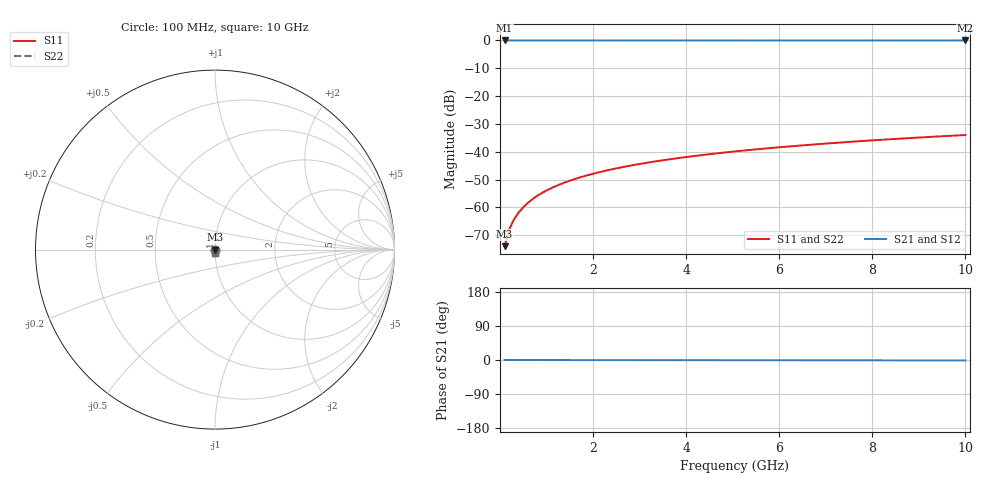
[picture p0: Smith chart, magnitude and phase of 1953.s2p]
# Hz S RI R 50.00
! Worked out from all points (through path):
!   100 points, 100 MHz to 10 GHz, reference 50 ohm
!   highest |S21| = 0.00 dB at 100 MHz (marker M1); lowest = 0.0 dB at 10 GHz (marker M2)
!   lowest |S11| = -73.9 dB at 100 MHz (marker M3), VSWR 1.00, Z = 50 - j0.0202 ohm
!   |S11| at or under -10 dB: start of sweep to end of sweep
!   |S22| runs from -73.9 to -34.0 dB; largest |S21 - S12| = 0
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1e8  -6.61e-07 -0.000202  1 -0.000202  1 -0.000202  -6.61e-07 -0.000202
2e8  -9.84e-07 -0.000404  1 -0.000405  1 -0.000405  -9.84e-07 -0.000404
3e8  -1.39e-06 -0.000606  1 -0.000607  1 -0.000607  -1.39e-06 -0.000606
4e8  -1.88e-06 -0.000807  1 -0.000809  1 -0.000809  -1.88e-06 -0.000807
5e8  -2.44e-06 -0.00101  1 -0.00101  1 -0.00101  -2.44e-06 -0.00101
6e8  -3.09e-06 -0.00121  1 -0.00121  1 -0.00121  -3.09e-06 -0.00121
7e8  -3.82e-06 -0.00141  1 -0.00142  1 -0.00142  -3.82e-06 -0.00141
8e8  -4.64e-06 -0.00161  1 -0.00162  1 -0.00162  -4.64e-06 -0.00161
9e8  -5.53e-06 -0.00182  1 -0.00182  1 -0.00182  -5.53e-06 -0.00182
1.1e9  -7.56e-06 -0.00222  1 -0.00222  1 -0.00222  -7.56e-06 -0.00222
1.4e9  -1.12e-05 -0.00282  1 -0.00283  1 -0.00283  -1.12e-05 -0.00282
1.8e9  -1.72e-05 -0.00363  1 -0.00364  1 -0.00364  -1.72e-05 -0.00363
2.1e9  -2.26e-05 -0.00423  1 -0.00424  1 -0.00424  -2.26e-05 -0.00423
2.5e9  -3.09e-05 -0.00504  1 -0.00505  1 -0.00505  -3.09e-05 -0.00504
2.9e9  -4.05e-05 -0.00584  1 -0.00586  1 -0.00586  -4.05e-05 -0.00584
3.4e9  -5.42e-05 -0.00685  0.9999 -0.00686  0.9999 -0.00686  -5.42e-05 -0.00685
4.2e9  -8.04e-05 -0.00845  0.9999 -0.00847  0.9999 -0.00847  -8.04e-05 -0.00845
5.1e9  -0.000116 -0.0103  0.9999 -0.0103  0.9999 -0.0103  -0.000116 -0.0103
5.9e9  -0.000153 -0.0119  0.9998 -0.0119  0.9998 -0.0119  -0.000153 -0.0119
6.7e9  -0.000195 -0.0135  0.9998 -0.0135  0.9998 -0.0135  -0.000195 -0.0135
8.4e9  -0.000301 -0.0168  0.9997 -0.0169  0.9997 -0.0169  -0.000301 -0.0168
1e10  -0.000422 -0.02  0.9996 -0.0201  0.9996 -0.0201  -0.000422 -0.02
